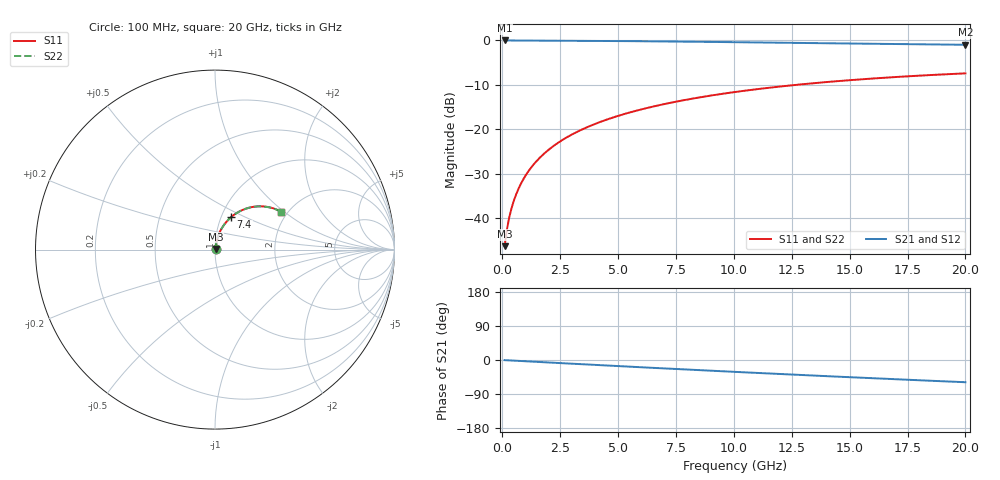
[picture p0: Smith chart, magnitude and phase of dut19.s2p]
! Touchstone file exported from HFSS 2026.1.0
!  File:  C:/ffzhzh/LocalFiles/Ansys_Project_Files/temp_val_TMRDL_19_1782903031_46784.aedt
!  Generated:  06:51:54 PM Jul  1, 2026
!  Design:  TMRDL
!  Project:  temp_val_TMRDL_19_1782903031_46784
! Variables:
!  h_bsmrdl = 2um
!  h_ox = 20um
!  h_rdl = 5um
!  h_sub = 80um
!  h_tmrdl = 4.43um
!  h_tsv = 80um
!  h_via = 3um
!  l_bsmrdl = 300um
!  l_sub = 1350.87um
!  l_tmrdl = 950.87um
!  m_sub = 200um
!  pitch = 44.95um
!  r_tsv = 6um
!  s_tmrdl = 10um
!  w_bsmrdl = 18um
!  w_sub = 500um
!  w_tmrdl = 22.56um
!  x_tsv_center1 = 962.15um
!  x_tsv_center2 = 1280.15um
!  x_tsv_center3 = 2253.58um
!  x_tsv_center4 = 2571.58um
!  x_tsv_center5 = 3545.01um
!  x_tsv_center6 = 3863.01um
# GHz S MA R 50.000000
! Terminal data exported
! Port[1] = TM_RDL1_1_T1
! Port[2] = TM_RDL1_1_T2
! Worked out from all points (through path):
!   200 points, 100 MHz to 20 GHz, reference 50 ohm
!   highest |S21| = -0.03 dB at 100 MHz (marker M1); lowest = -1.0 dB at 20 GHz (marker M2)
!   group delay of S21, straight-line fit = 8.14 ps
!   lowest |S11| = -46.3 dB at 100 MHz (marker M3), VSWR 1.01, Z = 50.4 + j0.33 ohm
!   |S11| at or under -10 dB: start of sweep to 12.72 GHz
!   |S22| runs from -46.3 to -7.4 dB; largest |S21 - S12| = 9.6e-15
!   S11 on the Smith chart (normalised r, x): 100 MHz: 1.01, +0.01; 7.4 GHz: 1.11, +0.42; 20 GHz: 1.85, +0.95
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0.1  0.004857 42.4  0.9964 -0.3  0.9964 -0.3  0.004857 42.4
! Gamma 0 0 0 0
! Port Impedance 50 0 50 0
0.2  0.007465 58.5  0.9962 -0.7  0.9962 -0.7  0.007465 58.5
0.3  0.01022 65.7  0.9959 -1.0  0.9959 -1.0  0.01022 65.7
0.4  0.013 69.8  0.9957 -1.3  0.9957 -1.3  0.013 69.8
0.5  0.0158 72.5  0.9956 -1.7  0.9956 -1.7  0.0158 72.5
0.6  0.01862 74.3  0.9954 -2.0  0.9954 -2.0  0.01862 74.3
0.8  0.02432 76.6  0.9952 -2.6  0.9952 -2.6  0.02432 76.6
1.1  0.03294 78.1  0.9947 -3.6  0.9947 -3.6  0.03294 78.1
1.5  0.04448 78.6  0.994 -4.9  0.994 -4.9  0.04448 78.6
1.8  0.05312 78.5  0.9934 -5.9  0.9934 -5.9  0.05312 78.5
2.1  0.06171 78.1  0.9926 -6.9  0.9926 -6.9  0.06172 78.1
2.7  0.07875 76.8  0.9909 -8.8  0.9909 -8.8  0.07875 76.8
3.5  0.1011 74.8  0.9881 -11.3  0.9881 -11.3  0.1011 74.8
4.2  0.1201 72.9  0.9852 -13.6  0.9852 -13.6  0.1201 72.8
5  0.1414 70.6  0.9816 -16.1  0.9816 -16.1  0.1414 70.5
6.8  0.1873 65.4  0.9723 -21.6  0.9723 -21.6  0.1873 65.3
7.4  0.2019 63.6  0.969 -23.4  0.969 -23.4  0.2019 63.6
8.7  0.2324 59.9  0.9613 -27.4  0.9613 -27.4  0.2324 59.9
10.1  0.2635 56.0  0.9527 -31.5  0.9527 -31.5  0.2635 55.9
13.4  0.3288 46.9  0.9312 -40.9  0.9312 -40.9  0.3288 46.8
16.7  0.3827 38.1  0.9101 -50.0  0.9101 -50.0  0.3827 38.0
20  0.4251 29.7  0.8911 -58.7  0.8911 -58.7  0.4252 29.5
